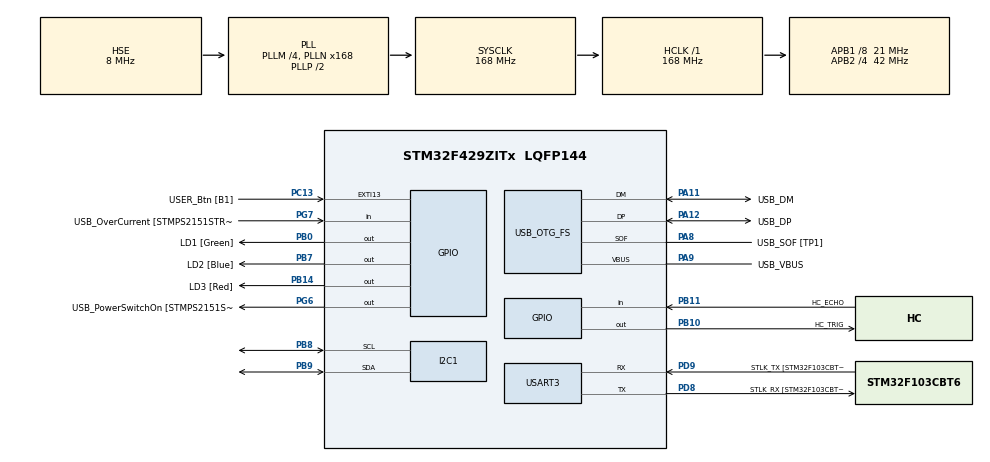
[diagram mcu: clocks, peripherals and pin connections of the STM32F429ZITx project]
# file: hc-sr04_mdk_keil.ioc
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FREERTOS.Tasks01=defaultTask,24,128,StartDefaultTask,Default,NULL,Dynamic,NULL,NULL
FREERTOS.configUSE_NEWLIB_REENTRANT=0
I2C1.I2C_Mode=I2C_Fast
Mcu.Family=STM32F4
Mcu.Name=STM32F429ZITx
Mcu.Package=LQFP144
NVIC.PriorityGroup=NVIC_PRIORITYGROUP_4
NVIC.TIM1_UP_TIM10_IRQn=true\:15\:0\:false\:false\:true\:false\:false\:true\:true
NVIC.TimeBase=TIM1_UP_TIM10_IRQn
NVIC.TimeBaseIP=TIM1
PA1.GPIO_Label=RMII_REF_CLK [LAN8742A-CZ-TR_REFCLK0]
PA1.Signal=ETH_REF_CLK
PA10.GPIO_Label=USB_ID
PA10.Signal=USB_OTG_FS_ID
PA11.GPIO_Label=USB_DM
PA11.Mode=Device_Only
PA11.Signal=USB_OTG_FS_DM
PA12.GPIO_Label=USB_DP
PA12.Mode=Device_Only
PA12.Signal=USB_OTG_FS_DP
PA13.GPIO_Label=TMS
PA13.Mode=Serial_Wire
PA13.Signal=SYS_JTMS-SWDIO
PA14.GPIO_Label=TCK
PA14.Mode=Serial_Wire
PA14.Signal=SYS_JTCK-SWCLK
PA2.GPIO_Label=RMII_MDIO [LAN8742A-CZ-TR_MDIO]
PA2.Signal=ETH_MDIO
PA7.GPIO_Label=RMII_CRS_DV [LAN8742A-CZ-TR_CRS_DV]
PA7.Signal=ETH_CRS_DV
PA8.GPIO_Label=USB_SOF [TP1]
PA8.Mode=Activate_SOF_FS
PA8.Signal=USB_OTG_FS_SOF
PA9.GPIO_Label=USB_VBUS
PA9.Mode=Activate_VBUS
PA9.Signal=USB_OTG_FS_VBUS
PB0.GPIO_Label=LD1 [Green]
PB0.Signal=GPIO_Output
PB10.GPIO_Label=HC_TRIG
PB10.GPIO_PuPd=GPIO_PULLDOWN
PB10.Signal=GPIO_Output
PB11.GPIO_Label=HC_ECHO
PB11.GPIO_PuPd=GPIO_PULLDOWN
PB11.Signal=GPIO_Input
PB13.GPIO_Label=RMII_TXD1 [LAN8742A-CZ-TR_TXD1]
PB13.Signal=ETH_TXD1
PB14.GPIO_Label=LD3 [Red]
PB14.Signal=GPIO_Output
PB7.GPIO_Label=LD2 [Blue]
PB7.Signal=GPIO_Output
PB8.Mode=I2C
PB8.Signal=I2C1_SCL
PB9.Mode=I2C
PB9.Signal=I2C1_SDA
PC1.GPIO_Label=RMII_MDC [LAN8742A-CZ-TR_MDC]
PC1.Signal=ETH_MDC
PC13.GPIO_Label=USER_Btn [B1]
PC13.Signal=GPXTI13
PC14/OSC32_IN.Mode=LSE-External-Oscillator
PC14/OSC32_IN.Signal=RCC_OSC32_IN
PC15/OSC32_OUT.Mode=LSE-External-Oscillator
PC15/OSC32_OUT.Signal=RCC_OSC32_OUT
PC4.GPIO_Label=RMII_RXD0 [LAN8742A-CZ-TR_RXD0]
PC4.Signal=ETH_RXD0
PC5.GPIO_Label=RMII_RXD1 [LAN8742A-CZ-TR_RXD1]
PC5.Signal=ETH_RXD1
PD8.GPIO_Label=STLK_RX [STM32F103CBT6_PA3]
PD8.Mode=Asynchronous
PD8.Signal=USART3_TX
PD9.GPIO_Label=STLK_TX [STM32F103CBT6_PA2]
PD9.Mode=Asynchronous
PD9.Signal=USART3_RX
PG11.GPIO_Label=RMII_TX_EN [LAN8742A-CZ-TR_TXEN]
PG11.Signal=ETH_TX_EN
PG13.GPIO_Label=RMII_TXD0 [LAN8742A-CZ-TR_TXD0]
PG13.Signal=ETH_TXD0
PG6.GPIO_Label=USB_PowerSwitchOn [STMPS2151STR_EN]
PG6.Signal=GPIO_Output
PG7.GPIO_Label=USB_OverCurrent [STMPS2151STR_FAULT]
PG7.Signal=GPIO_Input
PH0/OSC_IN.GPIO_Label=MCO [STM32F103CBT6_PA8]
PH0/OSC_IN.Mode=HSE-External-Oscillator
PH0/OSC_IN.Signal=RCC_OSC_IN
PH1/OSC_OUT.Mode=HSE-External-Oscillator
PH1/OSC_OUT.Signal=RCC_OSC_OUT
ProjectManager.HeapSize=0x200
ProjectManager.StackSize=0x400
ProjectManager.TargetToolchain=MDK-ARM V5.32
RCC.48MHZClocksFreq_Value=48000000
RCC.AHBFreq_Value=168000000
RCC.APB1CLKDivider=RCC_HCLK_DIV8
RCC.APB1Freq_Value=21000000
RCC.APB1TimFreq_Value=42000000
RCC.APB2CLKDivider=RCC_HCLK_DIV4
RCC.APB2Freq_Value=42000000
RCC.APB2TimFreq_Value=84000000
RCC.CortexFreq_Value=168000000
RCC.HCLKFreq_Value=168000000
RCC.HSE_VALUE=8000000
RCC.HSI_VALUE=16000000
RCC.PLLM=4
RCC.PLLMUL=RCC_PLL_MUL9
RCC.PLLN=168
RCC.PLLQ=7
RCC.PRESCALERUSB=RCC_USBCLKSOURCE_PLL_DIV1_5
RCC.SYSCLKFreq_VALUE=168000000
RCC.SYSCLKSource=RCC_SYSCLKSOURCE_PLLCLK
RCC.SYSCLKSourceVirtual=RCC_SYSCLKSOURCE_PLLCLK
RCC.USBFreq_Value=48000000
RCC.VCOOutputFreq_Value=336000000
TIM3.Prescaler=41
USART3.VirtualMode=VM_ASYNC
USB_OTG_FS.VirtualMode=Device_Only
VP_FREERTOS_VS_CMSIS_V2.Mode=CMSIS_V2
VP_SYS_VS_tim1.Mode=TIM1
VP_TIM3_VS_ClockSourceINT.Mode=Internal
board=NUCLEO-F429ZI

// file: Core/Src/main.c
/* USER CODE BEGIN Header */
/**
  ******************************************************************************
  * @file           : main.c
  * @brief          : Main program body
  ******************************************************************************
  * @attention
  *
  * Copyright (c) 2023 STMicroelectronics.
  * All rights reserved.
  *
  * This software is licensed under terms that can be found in the LICENSE file
  * in the root directory of this software component.
  * If no LICENSE file comes with this software, it is provided AS-IS.
  *
  ******************************************************************************
  */
/* USER CODE END Header */
#include "main.h"
#include "cmsis_os.h"
#include "i2c.h"
#include "tim.h"
#include "usart.h"
#include "usb_otg.h"
#include "gpio.h"

/* USER CODE BEGIN Includes */
#include "FreeRTOS.h"
#include "queue.h"
#include "semphr.h"
#include "task.h"
#include "oled.h"
#include "u8g2.h"
#include "stdio.h"
/* USER CODE END Includes */

/* USER CODE BEGIN PV */
TaskHandle_t handleOled;
TaskHandle_t handleHC_SR04;
u8g2_t u8g2;
QueueHandle_t queueHC_SR04;
/* USER CODE END PV */

void SystemClock_Config(void);
void MX_FREERTOS_Init(void);

/* USER CODE BEGIN 0 */
void microDelay(uint32_t time){
	__HAL_TIM_SetCounter(&htim3, 0);
	__HAL_TIM_ENABLE(&htim3);
	while(__HAL_TIM_GET_COUNTER(&htim3) < time){
	}
	__HAL_TIM_DISABLE(&htim3);
}

void taskOledControl(){
	char displayStr[32];
	float distance = 0;
	u8g2Init(&u8g2);
	u8g2_ClearBuffer(&u8g2);
	u8g2_ClearDisplay(&u8g2);
	u8g2_SetFont(&u8g2,u8g2_font_DigitalDiscoThin_tf);
	for(;;){
		if(xQueueReceive(queueHC_SR04, &distance, pdMS_TO_TICKS(500)) == pdPASS){
			snprintf(displayStr, 32, "Dist: %.2fcm",distance);
			u8g2_ClearBuffer(&u8g2);
			u8g2_DrawStr(&u8g2, 0, 20,displayStr);
			u8g2_SendBuffer(&u8g2);
		}
		else{
			snprintf(displayStr, 32, "HC-SR04 Error");
			u8g2_ClearBuffer(&u8g2);
			u8g2_DrawStr(&u8g2, 0, 20,displayStr);
			u8g2_SendBuffer(&u8g2);
		}
		vTaskDelay(500);
	}
}

void taskMicroWave(){
	for(;;){
		float distance = 0;
		HAL_GPIO_WritePin(GPIOB, HC_TRIG_Pin, 1);
		microDelay(20);
		HAL_GPIO_WritePin(GPIOB, HC_TRIG_Pin, 0);

		int echoTimer = 0;
		__HAL_TIM_SetCounter(&htim3, 0);
		while(HAL_GPIO_ReadPin(GPIOB, HC_ECHO_Pin) == 0);
		microDelay(10);
		__HAL_TIM_ENABLE(&htim3);
		while(HAL_GPIO_ReadPin(GPIOB, HC_ECHO_Pin) == 1);
		echoTimer = __HAL_TIM_GET_COUNTER(&htim3);
		__HAL_TIM_DISABLE(&htim3);
		distance += echoTimer/58.0;

		xQueueSend(queueHC_SR04, &distance, portMAX_DELAY);
		vTaskDelay(100);
	}

}
/* USER CODE END 0 */

int main(void)
{

  /* MCU Configuration--------------------------------------------------------*/

  /* Reset of all peripherals, Initializes the Flash interface and the Systick. */
  HAL_Init();

  /* Configure the system clock */
  SystemClock_Config();

  /* Initialize all configured peripherals */
  MX_GPIO_Init();
  MX_TIM3_Init();
  MX_USART3_UART_Init();
  MX_USB_OTG_FS_PCD_Init();
  MX_I2C1_Init();
  /* USER CODE BEGIN 2 */
	xTaskCreate(taskOledControl, "display", 512, NULL, 1, &handleOled);
	xTaskCreate(taskMicroWave, "HC-SR04", 128, NULL, 2, &handleHC_SR04);
	queueHC_SR04 = xQueueCreate(5, 4);
	vTaskStartScheduler();
  /* USER CODE END 2 */

  /* Init scheduler */
  //osKernelInitialize();  /* Call init function for freertos objects (in freertos.c) */
  //MX_FREERTOS_Init();

  /* Start scheduler */
  //osKernelStart();

  /* We should never get here as control is now taken by the scheduler */
  /* Infinite loop */
  /* USER CODE BEGIN WHILE */
  while (1)
  {
		/*
		float sum = 0;
		//float voiceSpeed = 344;
		float voiceSpeed = 331.4 + 0.607*26;
		float voiceSpeedPreSec = voiceSpeed * 1e-6;
		HAL_GPIO_TogglePin(GPIOB, LD1_Pin);
		HAL_GPIO_WritePin(GPIOB, HC_TRIG_Pin, 1);
		microDelay(20);
		HAL_GPIO_WritePin(GPIOB, HC_TRIG_Pin, 0);

		int echoTimer = 0;
		__HAL_TIM_SetCounter(&htim3, 0);
		while(HAL_GPIO_ReadPin(GPIOB, HC_ECHO_Pin) == 0);
		microDelay(10);
		__HAL_TIM_ENABLE(&htim3);
		while(HAL_GPIO_ReadPin(GPIOB, HC_ECHO_Pin) == 1);
		echoTimer = __HAL_TIM_GET_COUNTER(&htim3);
		__HAL_TIM_DISABLE(&htim3);

		HAL_GPIO_WritePin(GPIOB, LD3_Pin, 0);
//		float distance = ((echoTimer * voiceSpeed*1e-6)/2)*100 +2;
		float distance = echoTimer/58.0;
		printf("Distance: %.1fcm\t", distance);
		printf("Echo high: %dus\n", echoTimer);

			if(distance <= 10){
			HAL_GPIO_WritePin(GPIOB, LD2_Pin, 1);
		}
		else{
			HAL_GPIO_WritePin(GPIOB, LD2_Pin, 0);
		}
		HAL_Delay(500);
		*/
    /* USER CODE END WHILE */

  }
}

void SystemClock_Config(void)
{
  RCC_OscInitTypeDef RCC_OscInitStruct = {0};
  RCC_ClkInitTypeDef RCC_ClkInitStruct = {0};

  /** Configure the main internal regulator output voltage
  */
  __HAL_RCC_PWR_CLK_ENABLE();
  __HAL_PWR_VOLTAGESCALING_CONFIG(PWR_REGULATOR_VOLTAGE_SCALE1);

  /** Initializes the RCC Oscillators according to the specified parameters
  * in the RCC_OscInitTypeDef structure.
  */
  RCC_OscInitStruct.OscillatorType = RCC_OSCILLATORTYPE_HSE;
  RCC_OscInitStruct.HSEState = RCC_HSE_ON;
  RCC_OscInitStruct.PLL.PLLState = RCC_PLL_ON;
  RCC_OscInitStruct.PLL.PLLSource = RCC_PLLSOURCE_HSE;
  RCC_OscInitStruct.PLL.PLLM = 4;
  RCC_OscInitStruct.PLL.PLLN = 168;
  RCC_OscInitStruct.PLL.PLLP = RCC_PLLP_DIV2;
  RCC_OscInitStruct.PLL.PLLQ = 7;
  if (HAL_RCC_OscConfig(&RCC_OscInitStruct) != HAL_OK)
  {
    Error_Handler();
  }

  /** Initializes the CPU, AHB and APB buses clocks
  */
  RCC_ClkInitStruct.ClockType = RCC_CLOCKTYPE_HCLK|RCC_CLOCKTYPE_SYSCLK
                              |RCC_CLOCKTYPE_PCLK1|RCC_CLOCKTYPE_PCLK2;
  RCC_ClkInitStruct.SYSCLKSource = RCC_SYSCLKSOURCE_PLLCLK;
  RCC_ClkInitStruct.AHBCLKDivider = RCC_SYSCLK_DIV1;
  RCC_ClkInitStruct.APB1CLKDivider = RCC_HCLK_DIV8;
  RCC_ClkInitStruct.APB2CLKDivider = RCC_HCLK_DIV4;

  if (HAL_RCC_ClockConfig(&RCC_ClkInitStruct, FLASH_LATENCY_5) != HAL_OK)
  {
    Error_Handler();
  }
}

void HAL_TIM_PeriodElapsedCallback(TIM_HandleTypeDef *htim)
{
  if (htim->Instance == TIM1) {
    HAL_IncTick();
  }
}

void Error_Handler(void)
{
  __disable_irq();
  while (1)
  {
  }
}
